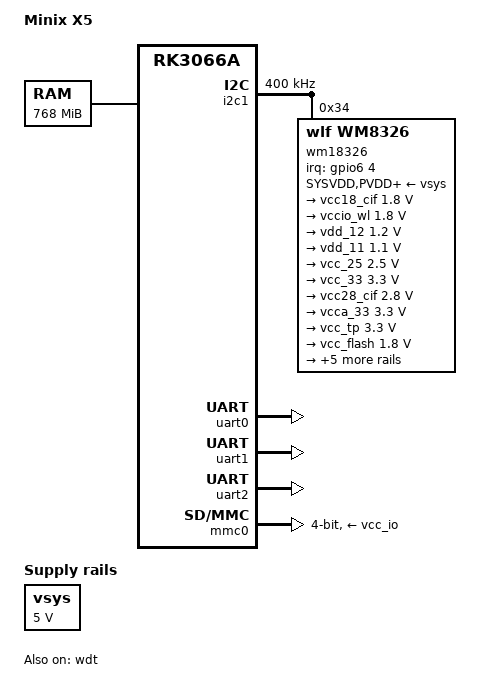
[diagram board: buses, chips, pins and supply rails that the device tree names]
/*
 * Copyright (c) 2014 Romain Perier <romain.perier@gmail.com>
 *
 * This file is dual-licensed: you can use it either under the terms
 * of the GPL or the X11 license, at your option. Note that this dual
 * licensing only applies to this file, and not this project as a
 * whole.
 *
 *  a) This file is free software; you can redistribute it and/or
 *     modify it under the terms of the GNU General Public License as
 *     published by the Free Software Foundation; either version 2 of the
 *     License, or (at your option) any later version.
 *
 *     This file is distributed in the hope that it will be useful,
 *     but WITHOUT ANY WARRANTY; without even the implied warranty of
 *     MERCHANTABILITY or FITNESS FOR A PARTICULAR PURPOSE.  See the
 *     GNU General Public License for more details.
 *
 * Or, alternatively,
 *
 *  b) Permission is hereby granted, free of charge, to any person
 *     obtaining a copy of this software and associated documentation
 *     files (the "Software"), to deal in the Software without
 *     restriction, including without limitation the rights to use,
 *     copy, modify, merge, publish, distribute, sublicense, and/or
 *     sell copies of the Software, and to permit persons to whom the
 *     Software is furnished to do so, subject to the following
 *     conditions:
 *
 *     The above copyright notice and this permission notice shall be
 *     included in all copies or substantial portions of the Software.
 *
 *     THE SOFTWARE IS PROVIDED "AS IS", WITHOUT WARRANTY OF ANY KIND,
 *     EXPRESS OR IMPLIED, INCLUDING BUT NOT LIMITED TO THE WARRANTIES
 *     OF MERCHANTABILITY, FITNESS FOR A PARTICULAR PURPOSE AND
 *     NONINFRINGEMENT. IN NO EVENT SHALL THE AUTHORS OR COPYRIGHT
 *     HOLDERS BE LIABLE FOR ANY CLAIM, DAMAGES OR OTHER LIABILITY,
 *     WHETHER IN AN ACTION OF CONTRACT, TORT OR OTHERWISE, ARISING
 *     FROM, OUT OF OR IN CONNECTION WITH THE SOFTWARE OR THE USE OR
 *     OTHER DEALINGS IN THE SOFTWARE.
 */

/dts-v1/;
#include "rk3066a.dtsi"
//#include <dt-bindings/regulator/wm831x.h>

/ {
	model = "Minix X5";
	compatible = "minix,x5", "rockchip,rk3066a";

  aliases {
		serial0 = &uart0;
		serial1 = &uart1;
		serial2 = &uart2;
		serial3 = &uart3;
	};

  chosen {
		//bootargs = "console=ttyS2,115200n8";
		//stdout-path = "serial2:115200n8";
		//linux,initrd-start = <0x62000000>;
		//linux,initrd-end = <0x62250000>;
	};

	memory@60000000 {
		device_type = "memory";
		reg = <0x60000000 0x30000000>;
	};

  vsys: vsys-regulator {
		compatible = "regulator-fixed";
		regulator-name = "vsys";
		regulator-min-microvolt = <5000000>;
		regulator-max-microvolt = <5000000>;
		regulator-always-on;
		regulator-boot-on;
	};
};

&cpu0 {
	cpu0-supply = <&vdd_arm>;
};


&i2c1 {
	status = "okay";
	clock-frequency = <400000>;

	wm18326: wm8326@34 {
		compatible = "wlf,wm8326";
		reg = <0x34>;
		interrupt-parent = <&gpio6>;
		interrupts = <4 IRQ_TYPE_LEVEL_LOW>;
		//clocks = <&pmu_system_controller 0>;
		//clock-names = "MCLK1";
		//DCVDD-supply = <&ldo3_reg>;
		//DBVDD1-supply = <&ldo3_reg>;
		//wlf,ldo1ena = <&gpj0 4 0>;

    // According to datasheet, it seems to typical connections all
    // LDD are connected to system
		SYSVDD-supply = <&vsys>;
		PVDD-supply = <&vsys>;
		LDO1VDD-supply = <&vsys>;
		LDO2VDD-supply = <&vsys>;
		LDO3VDD-supply = <&vsys>;
		LDO4VDD-supply = <&vsys>;
		LDO5VDD-supply = <&vsys>;
		LDO6VDD-supply = <&vsys>;
		LDO7VDD-supply = <&vsys>;
		LDO8VDD-supply = <&vsys>;
		LDO9VDD-supply = <&vsys>;
		LDO10VDD-supply = <&vsys>;
		LDO11VDD-supply = <&vsys>;
		DC1VDD-supply = <&vsys>;
		DC2VDD-supply = <&vsys>;
    DC3VDD-supply = <&vsys>;
    DC4VDD-supply = <&vsys>;

    rtc: wm8326-rtc {
      compatible = "wm8326-rtc";
    };
    clk: wm8326-clk {
      compatible = "wm8326-clk";
    };
		regulators {
			vcc18_cif: LDO1 {
        compatible = "wm831x-ldo";
				regulator-name = "LDO1";
				regulator-always-on;
        regulator-boot-on;
				//constraint regulator-min-microvolt = <900000>;
				//constraint regulator-max-microvolt = <3300000>;
				regulator-min-microvolt = <1800000>;
				regulator-max-microvolt = <1800000>;
			};
			vccio_wl: LDO2 {
        compatible = "wm831x-ldo";
				regulator-name = "LDO2";
				regulator-always-on;
        regulator-boot-on;
				//constraint regulator-min-microvolt = <900000>;
				//constraint regulator-max-microvolt = <3300000>;
				regulator-min-microvolt = <1800000>;
				regulator-max-microvolt = <1800000>;
			};
			vdd_12: LDO3 {
        compatible = "wm831x-ldo";
				regulator-name = "LDO3";
				regulator-always-on;
        regulator-boot-on;
				//constraint regulator-min-microvolt = <900000>;
				//constraint regulator-max-microvolt = <3300000>;
				regulator-min-microvolt = <1200000>;
				regulator-max-microvolt = <1200000>;
			};
			vdd_11: LDO4 {
        compatible = "wm831x-ldo";
				regulator-name = "LDO4";
				regulator-always-on;
        regulator-boot-on;
        //regulator-mode = <WM831X_OPMODE_IDLE>;
				regulator-min-microvolt = <1100000>;
				regulator-max-microvolt = <1100000>;
				//constraint regulator-min-microvolt = <900000>;
				//constraint regulator-max-microvolt = <3300000>;
			};
			vcc_25: LDO5 {
        compatible = "wm831x-ldo";
				regulator-name = "LDO5";
				regulator-always-on;
        regulator-boot-on;
        //regulator-mode = <WM831X_OPMODE_IDLE>;
				regulator-min-microvolt = <2500000>;
        regulator-max-microvolt = <2500000>;
				//constraint regulator-min-microvolt = <900000>;
				//constraint regulator-max-microvolt = <3300000>;
			};
			vcc_33: LDO6 {
        compatible = "wm831x-ldo";
				regulator-name = "LDO6";
				regulator-always-on;
        regulator-boot-on;
        //regulator-mode = <WM831X_OPMODE_STANDBY>;
				regulator-min-microvolt = <3300000>;
				regulator-max-microvolt = <3300000>;
				//constraint regulator-min-microvolt = <900000>;
				//constraint regulator-max-microvolt = <3300000>;
			};
			vcc28_cif: LDO7 {
        compatible = "wm831x-ldo";
				regulator-name = "LDO7";
				regulator-always-on;
        regulator-boot-on;
				//constraint regulator-min-microvolt = <1000000>;
				//constraint regulator-max-microvolt = <3500000>;
				regulator-min-microvolt = <2800000>;
				regulator-max-microvolt = <2800000>;
			};
			vcca_33: LDO8 {
        compatible = "wm831x-ldo";
				regulator-name = "LDO8";
				regulator-always-on;
        regulator-boot-on;
				//constraint regulator-min-microvolt = <1000000>;
				//constraint regulator-max-microvolt = <3500000>;
				regulator-min-microvolt = <3300000>;
				regulator-max-microvolt = <3300000>;
			};
			vcc_tp: LDO9 {
        compatible = "wm831x-ldo";
				regulator-name = "LDO9";
				regulator-always-on;
        regulator-boot-on;
				//constraint regulator-min-microvolt = <1000000>;
				//constraint regulator-max-microvolt = <3500000>;
				regulator-min-microvolt = <3300000>;
				regulator-max-microvolt = <3300000>;
			};
			vcc_flash: LDO10 {
        compatible = "wm831x-ldo";
				regulator-name = "LDO10";
				regulator-always-on;
        regulator-boot-on;
				//constraint regulator-min-microvolt = <1000000>;
				//constraint regulator-max-microvolt = <3500000>;
				regulator-min-microvolt = <1800000>;
				regulator-max-microvolt = <1800000>;
			};
			vcc_ldo11: LDO11 {
        compatible = "wm831x-ldo";
				regulator-name = "LDO11";
				regulator-min-microvolt = <800000>;
				regulator-max-microvolt = <1550000>;
			};
			vdd_core: DCDC1 { // vdd_log
        compatible = "wm831x-dcdc";
				regulator-name = "DCDC1";
				regulator-always-on;
        regulator-boot-on;
				//constraint regulator-min-microvolt = <600000>;
        //constraint regulator-max-microvolt = <1800000>;
				regulator-min-microvolt = <1150000>;
        regulator-max-microvolt = <1150000>;
			};
			vdd_arm: DCDC2 { // vdd_arm
        compatible = "wm831x-dcdc";
				regulator-name = "DCDC2";
				regulator-always-on;
        regulator-boot-on;
				//constraint regulator-min-microvolt = <600000>;
        //constraint regulator-max-microvolt = <1800000>;
				regulator-min-microvolt = <1100000>;
        regulator-max-microvolt = <1100000>;
			};
			vcc_ddr: DCDC3 {
        compatible = "wm831x-dcdc";
				regulator-name = "DCDC3";
				regulator-always-on;
        regulator-boot-on;
				//constraint regulator-min-microvolt = <850000>;
        //constraint regulator-max-microvolt = <3400000>;
				regulator-min-microvolt = <1150000>;
        regulator-max-microvolt = <1150000>;
			};
			vcc_io: DCDC4 {
        compatible = "wm831x-dcdc";
				regulator-name = "DCDC4";
				regulator-always-on;
        regulator-boot-on;
				//constraint regulator-min-microvolt = <850000>;
        //constraint regulator-max-microvolt = <3400000>;
				regulator-min-microvolt = <3000000>;
        regulator-max-microvolt = <3000000>;
			};
		};

	};
};

&uart0 {
	status = "okay";
};

&uart1 {
	status = "okay";
};

&uart2 {
	status = "okay";
};

&wdt {
	status = "okay";
};

&mmc0 {
	bus-width = <4>;
	cap-mmc-highspeed;
	cap-sd-highspeed;
	vmmc-supply = <&vcc_io>;
	status = "okay";
};


